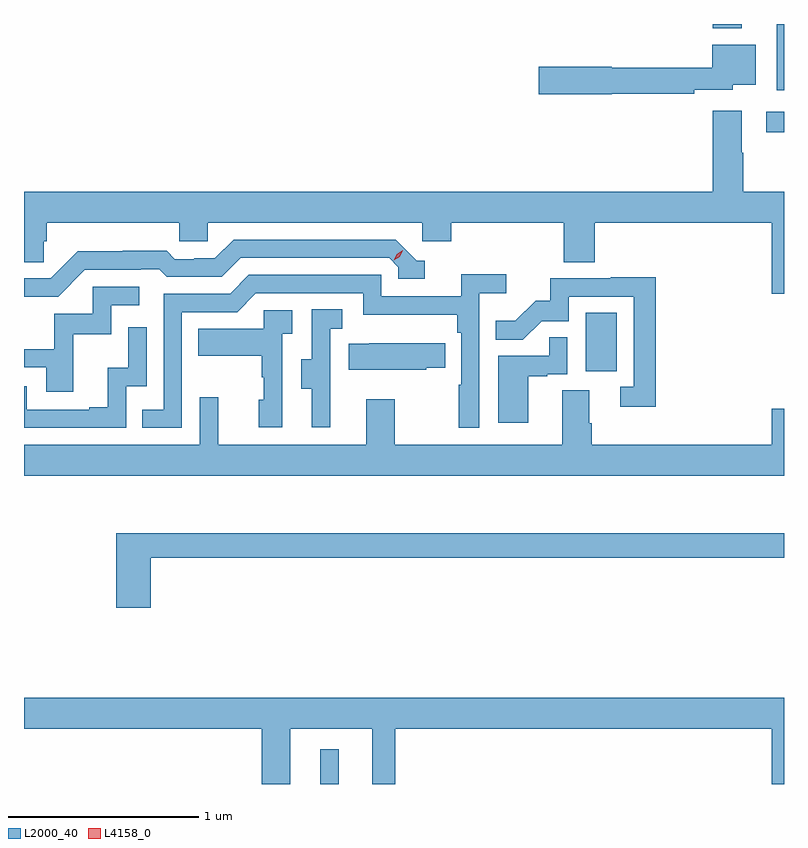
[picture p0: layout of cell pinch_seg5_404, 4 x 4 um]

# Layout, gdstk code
import gdstk
lib = gdstk.Library(unit=1e-6, precision=1e-09)
def R(c, l, rs):  # rectangles x0, y0, x1, y1
    for r in rs: c.add(gdstk.rectangle(r[:2], r[2:], *l))
def P(c, l, *ps):  # polygons
    for p in ps: c.add(gdstk.Polygon(p, *l))
L2000_40 = (2000, 40)
L4158_0 = (4158, 0)

pinch_seg5_404 = lib.new_cell('pinch_seg5_404')
R(pinch_seg5_404, L2000_40, [(1013.78,855.138,1013.878,855.322), (1015.178,857.31,1015.342,857.617), (1016.127,858.567,1016.221,858.675), (1016.183,858.789,1016.221,859.138), (1015.847,859.115,1015.999,859.138)])
P(pinch_seg5_404, L2000_40, [(1015.314,858.772),(1015.748,858.772),(1015.748,858.792),(1015.95,858.792),(1015.95,858.818),(1016.071,858.818),(1016.071,859.03),(1015.844,859.03),(1015.844,858.908),(1015.314,858.908),(1015.314,858.914),(1014.93,858.914),(1014.93,858.767),(1015.314,858.767)],
  [(1016.221,858.256),(1016.007,858.256),(1016.007,858.461),(1015.999,858.461),(1015.999,858.682),(1015.847,858.682),(1015.847,858.256),(1012.221,858.256),(1012.221,857.884),(1012.325,857.884),(1012.325,857.994),(1012.34,857.994),(1012.34,858.092),(1013.037,858.092),(1013.037,857.994),(1013.187,857.994),(1013.187,858.092),(1014.318,858.092),(1014.318,857.994),(1014.47,857.994),(1014.47,858.092),(1015.061,858.092),(1015.061,857.884),(1015.226,857.884),(1015.226,858.092),(1016.156,858.092),(1016.156,857.718),(1016.221,857.718)],
  [(1012.542,857.844),(1012.835,857.844),(1012.835,857.847),(1012.934,857.847),(1012.973,857.808),(1013.262,857.808),(1013.361,857.907),(1014.144,857.907),(1014.192,857.859),(1014.192,857.796),(1014.331,857.796),(1014.331,857.892),(1014.288,857.892),(1014.177,858.003),(1013.324,858.003),(1013.225,857.904),(1013.118,857.904),(1013.118,857.901),(1013.015,857.901),(1012.973,857.944),(1012.74,857.944),(1012.74,857.941),(1012.504,857.941),(1012.362,857.799),(1012.221,857.799),(1012.221,857.703),(1012.401,857.703)],
  [(1013.052,857.622),(1013.343,857.622),(1013.442,857.721),(1014.006,857.721),(1014.006,857.609),(1014.502,857.609),(1014.502,857.513),(1014.522,857.513),(1014.522,857.24),(1014.51,857.24),(1014.51,857.013),(1014.618,857.013),(1014.618,857.72),(1014.76,857.72),(1014.76,857.822),(1014.521,857.822),(1014.521,857.706),(1014.102,857.706),(1014.102,857.817),(1013.405,857.817),(1013.306,857.718),(1012.956,857.718),(1012.956,857.109),(1012.843,857.109),(1012.843,857.013),(1013.052,857.013)],
  [(1015.547,857.804),(1015.309,857.804),(1015.309,857.799),(1014.991,857.799),(1014.991,857.682),(1014.914,857.682),(1014.807,857.575),(1014.703,857.575),(1014.703,857.476),(1014.847,857.476),(1014.945,857.574),(1015.089,857.574),(1015.089,857.703),(1015.431,857.703),(1015.431,857.229),(1015.359,857.229),(1015.359,857.124),(1015.547,857.124)],
  [(1012.481,857.505),(1012.68,857.505),(1012.68,857.658),(1012.828,857.658),(1012.828,857.754),(1012.584,857.754),(1012.584,857.613),(1012.379,857.613),(1012.379,857.427),(1012.221,857.427),(1012.221,857.331),(1012.337,857.331),(1012.337,857.202),(1012.481,857.202)],
  [(1013.834,857.229),(1013.832,857.229),(1013.832,857.533),(1013.896,857.533),(1013.896,857.636),(1013.736,857.636),(1013.736,857.373),(1013.681,857.373),(1013.681,857.218),(1013.735,857.218),(1013.735,857.016),(1013.834,857.016)],
  [(1013.58,857.507),(1013.632,857.507),(1013.632,857.631),(1013.484,857.631),(1013.484,857.533),(1013.137,857.533),(1013.137,857.393),(1013.472,857.393),(1013.472,857.279),(1013.482,857.279),(1013.482,857.16),(1013.456,857.16),(1013.456,857.016),(1013.58,857.016)],
  [(1012.758,857.232),(1012.866,857.232),(1012.866,857.542),(1012.77,857.542),(1012.77,857.33),(1012.661,857.33),(1012.661,857.122),(1012.565,857.122),(1012.565,857.109),(1012.236,857.109),(1012.236,857.232),(1012.221,857.232),(1012.221,857.013),(1012.758,857.013)],
  [(1014.874,857.283),(1014.974,857.283),(1014.974,857.295),(1015.08,857.295),(1015.08,857.489),(1014.985,857.489),(1014.985,857.391),(1014.716,857.391),(1014.716,857.04),(1014.874,857.04)],
  [(1014.339,857.329),(1014.437,857.329),(1014.437,857.458),(1014.037,857.458),(1014.037,857.455),(1013.929,857.455),(1013.929,857.318),(1014.339,857.318)],
  [(1016.221,857.113),(1016.156,857.113),(1016.156,856.924),(1015.208,856.924),(1015.208,857.036),(1015.195,857.036),(1015.195,857.21),(1015.055,857.21),(1015.055,856.924),(1014.171,856.924),(1014.171,857.164),(1014.023,857.164),(1014.023,856.924),(1013.243,856.924),(1013.243,857.173),(1013.145,857.173),(1013.145,856.924),(1012.221,856.924),(1012.221,856.76),(1016.221,856.76)],
  [(1012.889,856.33),(1016.221,856.33),(1016.221,856.459),(1012.706,856.459),(1012.706,856.065),(1012.889,856.065)],
  [(1012.221,855.428),(1013.471,855.428),(1013.471,855.138),(1013.623,855.138),(1013.623,855.428),(1014.053,855.428),(1014.053,855.138),(1014.175,855.138),(1014.175,855.428),(1016.156,855.428),(1016.156,855.138),(1016.221,855.138),(1016.221,855.592),(1012.221,855.592)])
P(pinch_seg5_404, L4158_0, [(1014.167,857.894),(1014.167,857.894),(1014.183,857.927),(1014.214,857.946),(1014.214,857.946),(1014.214,857.946),(1014.198,857.913),(1014.167,857.894)])

lib.write_gds('pinch_seg5_404.gds')
